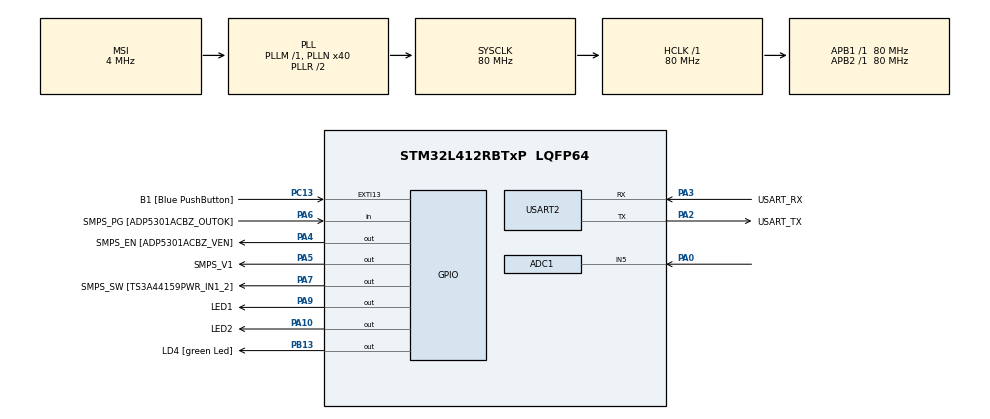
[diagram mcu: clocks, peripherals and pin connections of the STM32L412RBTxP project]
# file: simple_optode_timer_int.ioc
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ADC1.Channel-0\#ChannelRegularConversion=ADC_CHANNEL_5
ADC1.NbrOfConversionFlag=1
ADC1.OffsetNumber-0\#ChannelRegularConversion=ADC_OFFSET_NONE
ADC1.Rank-0\#ChannelRegularConversion=1
ADC1.Resolution=ADC_RESOLUTION_8B
ADC1.SamplingTime-0\#ChannelRegularConversion=ADC_SAMPLETIME_2CYCLES_5
ADC1.master=1
Mcu.Family=STM32L4
Mcu.Name=STM32L412RBTxP
Mcu.Package=LQFP64
NVIC.PriorityGroup=NVIC_PRIORITYGROUP_4
NVIC.TIM1_UP_TIM16_IRQn=true\:0\:0\:false\:false\:true\:true\:true
PA0.Signal=ADCx_IN5
PA10.GPIO_Label=LED2
PA10.Signal=GPIO_Output
PA13\ (JTMS/SWDIO).GPIO_Label=TMS
PA13\ (JTMS/SWDIO).Mode=Serial_Wire
PA13\ (JTMS/SWDIO).Signal=SYS_JTMS-SWDIO
PA14\ (JTCK/SWCLK).GPIO_Label=TCK
PA14\ (JTCK/SWCLK).Mode=Serial_Wire
PA14\ (JTCK/SWCLK).Signal=SYS_JTCK-SWCLK
PA2.GPIO_Label=USART_TX
PA2.GPIO_PuPd=GPIO_NOPULL
PA2.GPIO_Speed=GPIO_SPEED_FREQ_VERY_HIGH
PA2.Mode=Asynchronous
PA2.Signal=USART2_TX
PA3.GPIO_Label=USART_RX
PA3.GPIO_PuPd=GPIO_NOPULL
PA3.GPIO_Speed=GPIO_SPEED_FREQ_VERY_HIGH
PA3.Mode=Asynchronous
PA3.Signal=USART2_RX
PA4.GPIO_Label=SMPS_EN [ADP5301ACBZ_VEN]
PA4.Signal=GPIO_Output
PA5.GPIO_Label=SMPS_V1
PA5.GPIO_ModeDefaultOutputPP=GPIO_MODE_OUTPUT_PP
PA5.GPIO_PuPd=GPIO_NOPULL
PA5.GPIO_Speed=GPIO_SPEED_FREQ_LOW
PA5.Signal=GPIO_Output
PA6.GPIO_Label=SMPS_PG [ADP5301ACBZ_OUTOK]
PA6.GPIO_PuPd=GPIO_PULLUP
PA6.Signal=GPIO_Input
PA7.GPIO_Label=SMPS_SW [TS3A44159PWR_IN1_2]
PA7.Signal=GPIO_Output
PA9.GPIO_Label=LED1
PA9.Signal=GPIO_Output
PB13.GPIO_Label=LD4 [green Led]
PB13.Signal=GPIO_Output
PB3\ (JTDO/TRACESWO).GPIO_Label=SWO
PB3\ (JTDO/TRACESWO).Signal=SYS_JTDO-SWO
PC13.GPIO_Label=B1 [Blue PushButton]
PC13.GPIO_ModeDefaultEXTI=GPIO_MODE_IT_FALLING
PC13.GPIO_PuPd=GPIO_NOPULL
PC13.Signal=GPXTI13
PC14-OSC32_IN\ (PC14).Mode=LSE-External-Oscillator
PC14-OSC32_IN\ (PC14).Signal=RCC_OSC32_IN
PC15-OSC32_OUT\ (PC15).Mode=LSE-External-Oscillator
PC15-OSC32_OUT\ (PC15).Signal=RCC_OSC32_OUT
PH0-OSC_IN\ (PH0).GPIO_Label=MCO
PH0-OSC_IN\ (PH0).Mode=HSE-External-Clock-Source
PH0-OSC_IN\ (PH0).Signal=RCC_OSC_IN
PH1-OSC_OUT\ (PH1).Signal=RCC_OSC_OUT
ProjectManager.HeapSize=0x200
ProjectManager.StackSize=0x400
ProjectManager.TargetToolchain=STM32CubeIDE
RCC.ADCFreq_Value=80000000
RCC.AHBFreq_Value=80000000
RCC.APB1Freq_Value=80000000
RCC.APB1TimFreq_Value=80000000
RCC.APB2Freq_Value=80000000
RCC.APB2TimFreq_Value=80000000
RCC.CortexFreq_Value=80000000
RCC.FLatency=FLASH_LATENCY_4
RCC.HCLKFreq_Value=80000000
RCC.HSE_VALUE=8000000
RCC.HSI48_VALUE=48000000
RCC.HSICalibrationValue=16
RCC.HSI_VALUE=16000000
RCC.MSIAutoCalibration=DISABLED
RCC.MSI_VALUE=4000000
RCC.PLLN=40
RCC.PREFETCH_ENABLE=1
RCC.SYSCLKFreq_VALUE=80000000
RCC.SYSCLKSource=RCC_SYSCLKSOURCE_PLLCLK
RCC.USBFreq_Value=4000000
RCC.VCOOutputFreq_Value=160000000
SH.ADCx_IN5.0=ADC1_IN5,IN5-Single-Ended
TIM16.Period=10000-1
TIM16.Prescaler=80-1
USART2.VirtualMode-Asynchronous=VM_ASYNC
VP_TIM16_VS_ClockSourceINT.Mode=Enable_Timer
board=NUCLEO-L412RB-P

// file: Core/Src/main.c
/* USER CODE BEGIN Header */
/**
  ******************************************************************************
  * @file           : main.c
  * @brief          : Timer used project
  ******************************************************************************
  * @attention
  *
  * <h2><center>&copy; Copyright (c) 2022 STMicroelectronics.
  * All rights reserved.</center></h2>
  *
  * This software component is licensed by ST under BSD 3-Clause license,
  * the "License"; You may not use this file except in compliance with the
  * License. You may obtain a copy of the License at:
  *                        opensource.org/licenses/BSD-3-Clause
  *
  ******************************************************************************
  */
/* USER CODE END Header */
#include "main.h"

/* USER CODE BEGIN Includes */
#include <string.h>
/* USER CODE END Includes */

ADC_HandleTypeDef hadc1;

TIM_HandleTypeDef htim16;

UART_HandleTypeDef huart2;

void SystemClock_Config(void);
static void MX_GPIO_Init(void);
static void MX_USART2_UART_Init(void);
static void MX_ADC1_Init(void);
static void MX_TIM16_Init(void);

/* USER CODE BEGIN 0 */
uint16_t raw;
char msg[10];

/* USER CODE END 0 */

int main(void)
{
  /* USER CODE BEGIN 1 */
	char uart_buf[100];
	int uart_buf_len;
	//uint16_t timer_val;

  /* USER CODE END 1 */

  /* MCU Configuration--------------------------------------------------------*/

  /* Reset of all peripherals, Initializes the Flash interface and the Systick. */
  HAL_Init();

  /* Configure the system clock */
  SystemClock_Config();

  /* Initialize all configured peripherals */
  MX_GPIO_Init();
  MX_USART2_UART_Init();
  MX_ADC1_Init();
  MX_TIM16_Init();
  /* USER CODE BEGIN 2 */

  HAL_TIM_Base_Start_IT(&htim16);
  HAL_GPIO_WritePin(GPIOA, GPIO_PIN_10, GPIO_PIN_SET);
  HAL_GPIO_WritePin(GPIOA, GPIO_PIN_9, GPIO_PIN_RESET);

  uart_buf_len = sprintf(uart_buf, "Timer starting ...\r\n");
  HAL_UART_Transmit(&huart2, (uint8_t *)uart_buf, uart_buf_len, 100);

  /* USER CODE END 2 */

  /* Infinite loop */
  while (1)
  {

  }
}

void SystemClock_Config(void)
{
  RCC_OscInitTypeDef RCC_OscInitStruct = {0};
  RCC_ClkInitTypeDef RCC_ClkInitStruct = {0};

  /** Configure the main internal regulator output voltage
  */
  if (HAL_PWREx_ControlVoltageScaling(PWR_REGULATOR_VOLTAGE_SCALE1) != HAL_OK)
  {
    Error_Handler();
  }
  /** Initializes the RCC Oscillators according to the specified parameters
  * in the RCC_OscInitTypeDef structure.
  */
  RCC_OscInitStruct.OscillatorType = RCC_OSCILLATORTYPE_MSI;
  RCC_OscInitStruct.MSIState = RCC_MSI_ON;
  RCC_OscInitStruct.MSICalibrationValue = 0;
  RCC_OscInitStruct.MSIClockRange = RCC_MSIRANGE_6;
  RCC_OscInitStruct.PLL.PLLState = RCC_PLL_ON;
  RCC_OscInitStruct.PLL.PLLSource = RCC_PLLSOURCE_MSI;
  RCC_OscInitStruct.PLL.PLLM = 1;
  RCC_OscInitStruct.PLL.PLLN = 40;
  RCC_OscInitStruct.PLL.PLLQ = RCC_PLLQ_DIV2;
  RCC_OscInitStruct.PLL.PLLR = RCC_PLLR_DIV2;
  if (HAL_RCC_OscConfig(&RCC_OscInitStruct) != HAL_OK)
  {
    Error_Handler();
  }
  /** Initializes the CPU, AHB and APB buses clocks
  */
  RCC_ClkInitStruct.ClockType = RCC_CLOCKTYPE_HCLK|RCC_CLOCKTYPE_SYSCLK
                              |RCC_CLOCKTYPE_PCLK1|RCC_CLOCKTYPE_PCLK2;
  RCC_ClkInitStruct.SYSCLKSource = RCC_SYSCLKSOURCE_PLLCLK;
  RCC_ClkInitStruct.AHBCLKDivider = RCC_SYSCLK_DIV1;
  RCC_ClkInitStruct.APB1CLKDivider = RCC_HCLK_DIV1;
  RCC_ClkInitStruct.APB2CLKDivider = RCC_HCLK_DIV1;

  if (HAL_RCC_ClockConfig(&RCC_ClkInitStruct, FLASH_LATENCY_4) != HAL_OK)
  {
    Error_Handler();
  }
}

static void MX_ADC1_Init(void)
{

  ADC_MultiModeTypeDef multimode = {0};
  ADC_ChannelConfTypeDef sConfig = {0};

  /** Common config
  */
  hadc1.Instance = ADC1;
  hadc1.Init.ClockPrescaler = ADC_CLOCK_ASYNC_DIV1;
  hadc1.Init.Resolution = ADC_RESOLUTION_8B;
  hadc1.Init.DataAlign = ADC_DATAALIGN_RIGHT;
  hadc1.Init.ScanConvMode = ADC_SCAN_DISABLE;
  hadc1.Init.EOCSelection = ADC_EOC_SINGLE_CONV;
  hadc1.Init.LowPowerAutoWait = DISABLE;
  hadc1.Init.ContinuousConvMode = DISABLE;
  hadc1.Init.NbrOfConversion = 1;
  hadc1.Init.DiscontinuousConvMode = DISABLE;
  hadc1.Init.ExternalTrigConv = ADC_SOFTWARE_START;
  hadc1.Init.ExternalTrigConvEdge = ADC_EXTERNALTRIGCONVEDGE_NONE;
  hadc1.Init.DMAContinuousRequests = DISABLE;
  hadc1.Init.Overrun = ADC_OVR_DATA_PRESERVED;
  hadc1.Init.OversamplingMode = DISABLE;
  if (HAL_ADC_Init(&hadc1) != HAL_OK)
  {
    Error_Handler();
  }
  /** Configure the ADC multi-mode
  */
  multimode.Mode = ADC_MODE_INDEPENDENT;
  if (HAL_ADCEx_MultiModeConfigChannel(&hadc1, &multimode) != HAL_OK)
  {
    Error_Handler();
  }
  /** Configure Regular Channel
  */
  sConfig.Channel = ADC_CHANNEL_5;
  sConfig.Rank = ADC_REGULAR_RANK_1;
  sConfig.SamplingTime = ADC_SAMPLETIME_2CYCLES_5;
  sConfig.SingleDiff = ADC_SINGLE_ENDED;
  sConfig.OffsetNumber = ADC_OFFSET_NONE;
  sConfig.Offset = 0;
  if (HAL_ADC_ConfigChannel(&hadc1, &sConfig) != HAL_OK)
  {
    Error_Handler();
  }

}

static void MX_TIM16_Init(void)
{

  htim16.Instance = TIM16;
  htim16.Init.Prescaler = 80-1;
  htim16.Init.CounterMode = TIM_COUNTERMODE_UP;
  htim16.Init.Period = 10000-1;
  htim16.Init.ClockDivision = TIM_CLOCKDIVISION_DIV1;
  htim16.Init.RepetitionCounter = 0;
  htim16.Init.AutoReloadPreload = TIM_AUTORELOAD_PRELOAD_DISABLE;
  if (HAL_TIM_Base_Init(&htim16) != HAL_OK)
  {
    Error_Handler();
  }

}

static void MX_USART2_UART_Init(void)
{

  huart2.Instance = USART2;
  huart2.Init.BaudRate = 115200;
  huart2.Init.WordLength = UART_WORDLENGTH_8B;
  huart2.Init.StopBits = UART_STOPBITS_1;
  huart2.Init.Parity = UART_PARITY_NONE;
  huart2.Init.Mode = UART_MODE_TX_RX;
  huart2.Init.HwFlowCtl = UART_HWCONTROL_NONE;
  huart2.Init.OverSampling = UART_OVERSAMPLING_16;
  huart2.Init.OneBitSampling = UART_ONE_BIT_SAMPLE_DISABLE;
  huart2.AdvancedInit.AdvFeatureInit = UART_ADVFEATURE_NO_INIT;
  if (HAL_UART_Init(&huart2) != HAL_OK)
  {
    Error_Handler();
  }

}

static void MX_GPIO_Init(void)
{
  GPIO_InitTypeDef GPIO_InitStruct = {0};

  /* GPIO Ports Clock Enable */
  __HAL_RCC_GPIOC_CLK_ENABLE();
  __HAL_RCC_GPIOH_CLK_ENABLE();
  __HAL_RCC_GPIOA_CLK_ENABLE();
  __HAL_RCC_GPIOB_CLK_ENABLE();

  /*Configure GPIO pin Output Level */
  HAL_GPIO_WritePin(GPIOA, SMPS_EN_Pin|SMPS_V1_Pin|SMPS_SW_Pin|LED1_Pin
                          |LED2_Pin, GPIO_PIN_RESET);

  /*Configure GPIO pin Output Level */
  HAL_GPIO_WritePin(LD4_GPIO_Port, LD4_Pin, GPIO_PIN_RESET);

  /*Configure GPIO pin : B1_Pin */
  GPIO_InitStruct.Pin = B1_Pin;
  GPIO_InitStruct.Mode = GPIO_MODE_IT_FALLING;
  GPIO_InitStruct.Pull = GPIO_NOPULL;
  HAL_GPIO_Init(B1_GPIO_Port, &GPIO_InitStruct);

  /*Configure GPIO pins : SMPS_EN_Pin SMPS_V1_Pin SMPS_SW_Pin LED1_Pin
                           LED2_Pin */
  GPIO_InitStruct.Pin = SMPS_EN_Pin|SMPS_V1_Pin|SMPS_SW_Pin|LED1_Pin
                          |LED2_Pin;
  GPIO_InitStruct.Mode = GPIO_MODE_OUTPUT_PP;
  GPIO_InitStruct.Pull = GPIO_NOPULL;
  GPIO_InitStruct.Speed = GPIO_SPEED_FREQ_LOW;
  HAL_GPIO_Init(GPIOA, &GPIO_InitStruct);

  /*Configure GPIO pin : SMPS_PG_Pin */
  GPIO_InitStruct.Pin = SMPS_PG_Pin;
  GPIO_InitStruct.Mode = GPIO_MODE_INPUT;
  GPIO_InitStruct.Pull = GPIO_PULLUP;
  HAL_GPIO_Init(SMPS_PG_GPIO_Port, &GPIO_InitStruct);

  /*Configure GPIO pin : LD4_Pin */
  GPIO_InitStruct.Pin = LD4_Pin;
  GPIO_InitStruct.Mode = GPIO_MODE_OUTPUT_PP;
  GPIO_InitStruct.Pull = GPIO_NOPULL;
  GPIO_InitStruct.Speed = GPIO_SPEED_FREQ_LOW;
  HAL_GPIO_Init(LD4_GPIO_Port, &GPIO_InitStruct);

}

/* USER CODE BEGIN 4 */

void HAL_TIM_PeriodElapsedCallback(TIM_HandleTypeDef *htim){
	if (htim==&htim16){
		HAL_GPIO_TogglePin(GPIOA, GPIO_PIN_10);
		HAL_GPIO_TogglePin(GPIOA, GPIO_PIN_9);

		//HAL_Delay(1);

	    HAL_ADC_Start(&hadc1);
	    HAL_ADC_PollForConversion(&hadc1, HAL_MAX_DELAY);
	    raw = HAL_ADC_GetValue(&hadc1);

	    sprintf(msg, "%hu\r\n", raw);

	    HAL_UART_Transmit(&huart2, (uint8_t*)msg, strlen(msg), HAL_MAX_DELAY);
	}
}

/* USER CODE END 4 */

void Error_Handler(void)
{
  __disable_irq();
  while (1)
  {
  }
}

/************************ (C) COPYRIGHT STMicroelectronics *****END OF FILE****/
